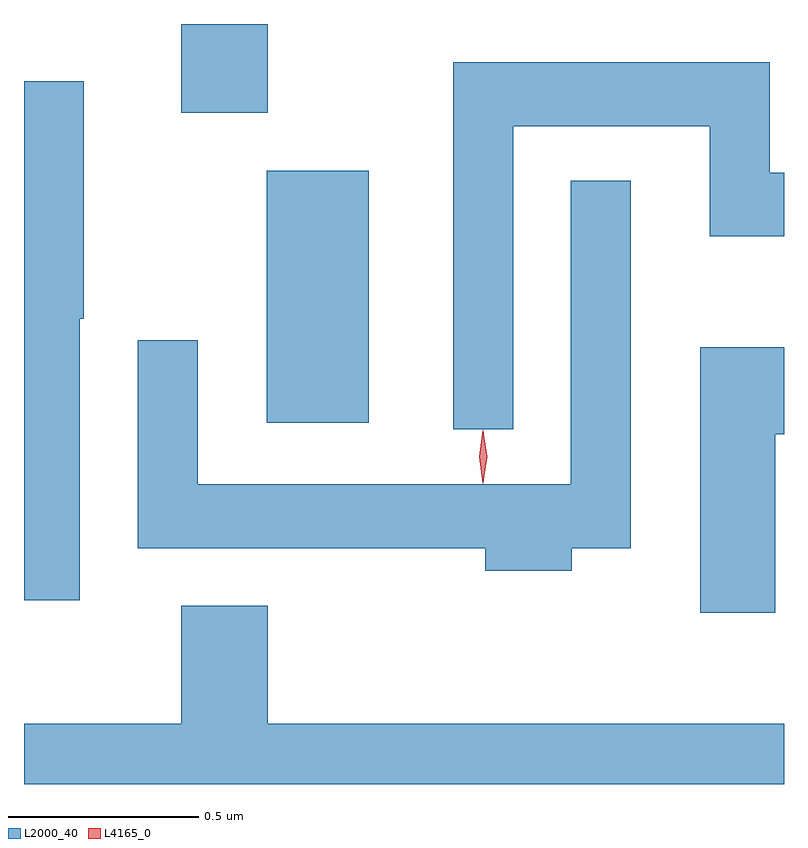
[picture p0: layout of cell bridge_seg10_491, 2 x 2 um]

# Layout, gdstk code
import gdstk
lib = gdstk.Library(unit=1e-6, precision=1e-09)
def R(c, l, rs):  # rectangles x0, y0, x1, y1
    for r in rs: c.add(gdstk.rectangle(r[:2], r[2:], *l))
def P(c, l, *ps):  # polygons
    for p in ps: c.add(gdstk.Polygon(p, *l))
L2000_40 = (2000, 40)
L4165_0 = (4165, 0)

bridge_seg10_491 = lib.new_cell('bridge_seg10_491')
R(bridge_seg10_491, L2000_40, [(1424.056,2103.876,1424.324,2104.539), (1423.831,2104.691,1424.059,2104.925)])
P(bridge_seg10_491, L2000_40, [(1424.704,2104.656),(1425.221,2104.656),(1425.221,2104.366),(1425.417,2104.366),(1425.417,2104.534),(1425.379,2104.534),(1425.379,2104.824),(1424.546,2104.824),(1424.546,2103.858),(1424.704,2103.858)],
  [(1423.564,2104.15),(1423.574,2104.15),(1423.574,2104.774),(1423.417,2104.774),(1423.417,2103.408),(1423.564,2103.408)],
  [(1424.859,2103.546),(1425.014,2103.546),(1425.014,2104.513),(1424.856,2104.513),(1424.856,2103.714),(1423.874,2103.714),(1423.874,2104.093),(1423.716,2104.093),(1423.716,2103.546),(1424.631,2103.546),(1424.631,2103.486),(1424.859,2103.486)],
  [(1425.394,2103.846),(1425.417,2103.846),(1425.417,2104.074),(1425.196,2104.074),(1425.196,2103.376),(1425.394,2103.376)],
  [(1425.417,2103.084),(1424.059,2103.084),(1424.059,2103.394),(1423.831,2103.394),(1423.831,2103.084),(1423.417,2103.084),(1423.417,2102.925),(1425.417,2102.925)])
P(bridge_seg10_491, L4165_0, [(1424.624,2103.717),(1424.615,2103.786),(1424.624,2103.856),(1424.625,2103.856),(1424.626,2103.856),(1424.635,2103.786),(1424.626,2103.717),(1424.625,2103.717)],
  [(1424.626,2103.72),(1424.626,2103.72),(1424.616,2103.786),(1424.625,2103.852),(1424.626,2103.853),(1424.626,2103.852),(1424.636,2103.786),(1424.626,2103.72)])

lib.write_gds('bridge_seg10_491.gds')
